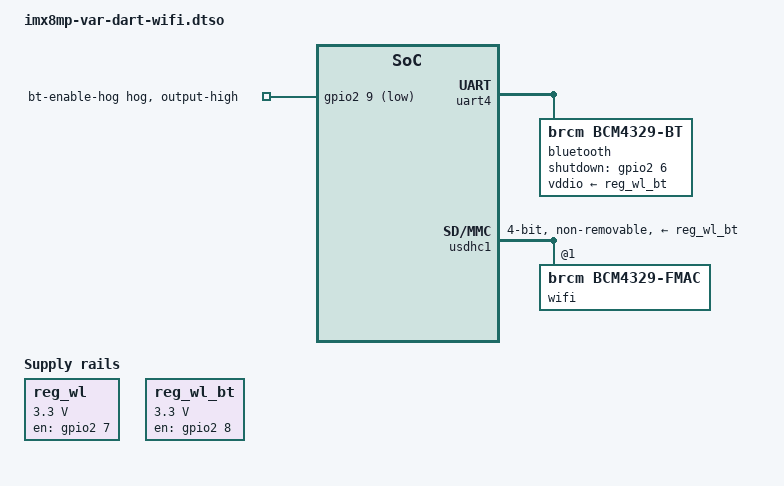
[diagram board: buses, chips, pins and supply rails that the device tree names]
// SPDX-License-Identifier: GPL-2.0-or-later OR MIT
/*
 * Copyright 2023 Ideas on Board Oy
 */

/dts-v1/;
/plugin/;

#include <dt-bindings/clock/imx8mp-clock.h>
#include <dt-bindings/gpio/gpio.h>
#include "imx8mp-pinfunc.h"

&{/} {
	reg_wl: regulator-wl {
		compatible = "regulator-fixed";
		regulator-name = "wl";
		regulator-min-microvolt = <3300000>;
		regulator-max-microvolt = <3300000>;
		gpio = <&gpio2 7 GPIO_ACTIVE_HIGH>;
		enable-active-high;
	};

	reg_wl_bt: regulator-wl-bt {
		compatible = "regulator-fixed";
		regulator-name = "wl-bt";
		regulator-min-microvolt = <3300000>;
		regulator-max-microvolt = <3300000>;
		gpio = <&gpio2 8 GPIO_ACTIVE_HIGH>;
		enable-active-high;
	};
};

&gpio2 {
	bt-enable-hog {
		gpio-hog;
		gpios = <9 GPIO_ACTIVE_LOW>;
		output-high;
	};
};

/* BT */
&uart4 {
	pinctrl-names = "default";
	pinctrl-0 = <&pinctrl_uart4>;
	assigned-clocks = <&clk IMX8MP_CLK_UART4>;
	assigned-clock-parents = <&clk IMX8MP_SYS_PLL1_80M>;
	uart-has-rtscts;
	status = "okay";

	bluetooth {
		compatible = "brcm,bcm4329-bt";
		max-speed = <3000000>;

		pinctrl-names = "default";
		pinctrl-0 = <&pinctrl_bt>;

		shutdown-gpios = <&gpio2 6 GPIO_ACTIVE_HIGH>;
		vddio-supply = <&reg_wl_bt>;
	};
};

/* WIFI */
&usdhc1 {
	pinctrl-names = "default", "state_100mhz", "state_200mhz";
	pinctrl-0 = <&pinctrl_usdhc1>, <&pinctrl_wifi>;
	pinctrl-1 = <&pinctrl_usdhc1_100mhz>, <&pinctrl_wifi>;
	pinctrl-2 = <&pinctrl_usdhc1_200mhz>, <&pinctrl_wifi>;
	bus-width = <4>;
	non-removable;
	no-1-8-v;
	status = "okay";

	vmmc-supply = <&reg_wl_bt>;
	vqmmc-supply = <&reg_wl>;

	#address-cells = <1>;
	#size-cells = <0>;

	wifi@1 {
		reg = <1>;
		compatible = "brcm,bcm4329-fmac";
	};
};

&iomuxc {
	pinctrl_bt: btgrp {
		fsl,pins = <
			MX8MP_IOMUXC_SD1_DATA4__GPIO2_IO06				0xc0 /* BT_EN  */
			MX8MP_IOMUXC_SD1_DATA7__GPIO2_IO09				0xc0 /* BT_BUF */
		>;
	};
	pinctrl_usdhc1: usdhc1grp {
		fsl,pins = <
			MX8MP_IOMUXC_SD1_CLK__USDHC1_CLK				0x190
			MX8MP_IOMUXC_SD1_CMD__USDHC1_CMD				0x1d0
			MX8MP_IOMUXC_SD1_DATA0__USDHC1_DATA0				0x1d0
			MX8MP_IOMUXC_SD1_DATA1__USDHC1_DATA1				0x1d0
			MX8MP_IOMUXC_SD1_DATA2__USDHC1_DATA2				0x1d0
			MX8MP_IOMUXC_SD1_DATA3__USDHC1_DATA3				0x1d0
		>;
	};

	pinctrl_usdhc1_100mhz: usdhc1-100mhzgrp {
		fsl,pins = <
			MX8MP_IOMUXC_SD1_CLK__USDHC1_CLK				0x194
			MX8MP_IOMUXC_SD1_CMD__USDHC1_CMD				0x1d4
			MX8MP_IOMUXC_SD1_DATA0__USDHC1_DATA0				0x1d4
			MX8MP_IOMUXC_SD1_DATA1__USDHC1_DATA1				0x1d4
			MX8MP_IOMUXC_SD1_DATA2__USDHC1_DATA2				0x1d4
			MX8MP_IOMUXC_SD1_DATA3__USDHC1_DATA3				0x1d4
		>;
	};

	pinctrl_usdhc1_200mhz: usdhc1-200mhzgrp {
		fsl,pins = <
			MX8MP_IOMUXC_SD1_CLK__USDHC1_CLK				0x196
			MX8MP_IOMUXC_SD1_CMD__USDHC1_CMD				0x1d6
			MX8MP_IOMUXC_SD1_DATA0__USDHC1_DATA0				0x1d6
			MX8MP_IOMUXC_SD1_DATA1__USDHC1_DATA1				0x1d6
			MX8MP_IOMUXC_SD1_DATA2__USDHC1_DATA2				0x1d6
			MX8MP_IOMUXC_SD1_DATA3__USDHC1_DATA3				0x1d6
		>;
	};
	pinctrl_uart4: uart4grp {
		fsl,pins = <
			MX8MP_IOMUXC_ECSPI2_SCLK__UART4_DCE_RX				0x140
			MX8MP_IOMUXC_ECSPI2_MOSI__UART4_DCE_TX				0x140
			MX8MP_IOMUXC_ECSPI2_MISO__UART4_DCE_CTS				0x140
			MX8MP_IOMUXC_ECSPI2_SS0__UART4_DCE_RTS				0x140
		>;
	};
	pinctrl_wifi: wifigrp {
		fsl,pins = <
			MX8MP_IOMUXC_SD1_DATA5__GPIO2_IO07				0xc0 /* WIFI_EN  */
			MX8MP_IOMUXC_SD1_DATA6__GPIO2_IO08				0xc0 /* WIFI_PWR */
		>;
	};
};
